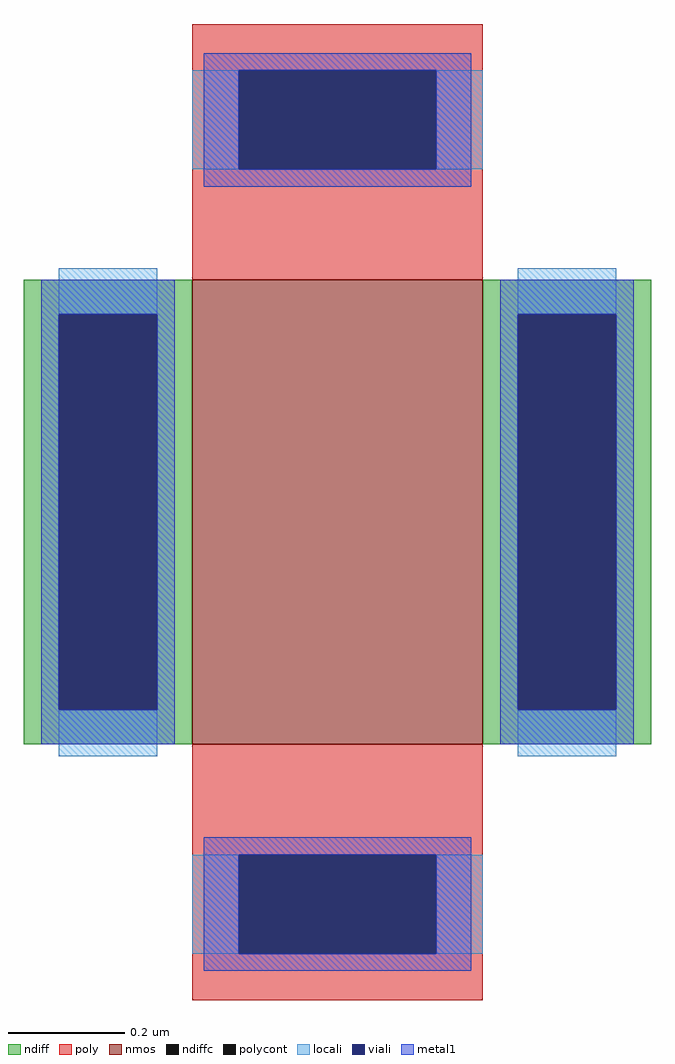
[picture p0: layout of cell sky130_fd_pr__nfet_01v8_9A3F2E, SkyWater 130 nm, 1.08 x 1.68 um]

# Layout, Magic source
magic
tech sky130A
<< nmos >>
rect -25 -40 25 40
<< ndiff >>
rect -54 34 -25 40
rect -54 -34 -48 34
rect -31 -34 -25 34
rect -54 -40 -25 -34
rect 25 34 54 40
rect 25 -34 31 34
rect 48 -34 54 34
rect 25 -40 54 -34
<< ndiffc >>
rect -48 -34 -31 34
rect 31 -34 48 34
<< poly >>
rect -25 76 25 84
rect -25 59 -17 76
rect 17 59 25 76
rect -25 40 25 59
rect -25 -59 25 -40
rect -25 -76 -17 -59
rect 17 -76 25 -59
rect -25 -84 25 -76
<< polycont >>
rect -17 59 17 76
rect -17 -76 17 -59
<< locali >>
rect -25 59 -17 76
rect 17 59 25 76
rect -48 34 -31 42
rect -48 -42 -31 -34
rect 31 34 48 42
rect 31 -42 48 -34
rect -25 -76 -17 -59
rect 17 -76 25 -59
<< viali >>
rect -17 59 17 76
rect -48 -34 -31 34
rect 31 -34 48 34
rect -17 -76 17 -59
<< metal1 >>
rect -23 76 23 79
rect -23 59 -17 76
rect 17 59 23 76
rect -23 56 23 59
rect -51 34 -28 40
rect -51 -34 -48 34
rect -31 -34 -28 34
rect -51 -40 -28 -34
rect 28 34 51 40
rect 28 -34 31 34
rect 48 -34 51 34
rect 28 -40 51 -34
rect -23 -59 23 -56
rect -23 -76 -17 -59
rect 17 -76 23 -59
rect -23 -79 23 -76
<< properties >>
string gencell sky130_fd_pr__nfet_01v8
string library sky130
string parameters w 0.8 l 0.5 m 1 nf 1 diffcov 100 polycov 100 guard 0 glc 1 grc 1 gtc 1 gbc 1 tbcov 100 rlcov 100 topc 1 botc 1 poverlap 1 doverlap 1 lmin 0.15 wmin 0.42 compatible {sky130_fd_pr__nfet_01v8 sky130_fd_pr__nfet_01v8_lvt  sky130_fd_bs_flash__special_sonosfet_star  sky130_fd_pr__nfet_g5v0d10v5 sky130_fd_pr__nfet_05v0_nvt  sky130_fd_pr__nfet_03v3_nvt} full_metal 1 viasrc 100 viadrn 100 viagate 100 viagb 0 viagr 0 viagl 0 viagt 0
<< end >>
